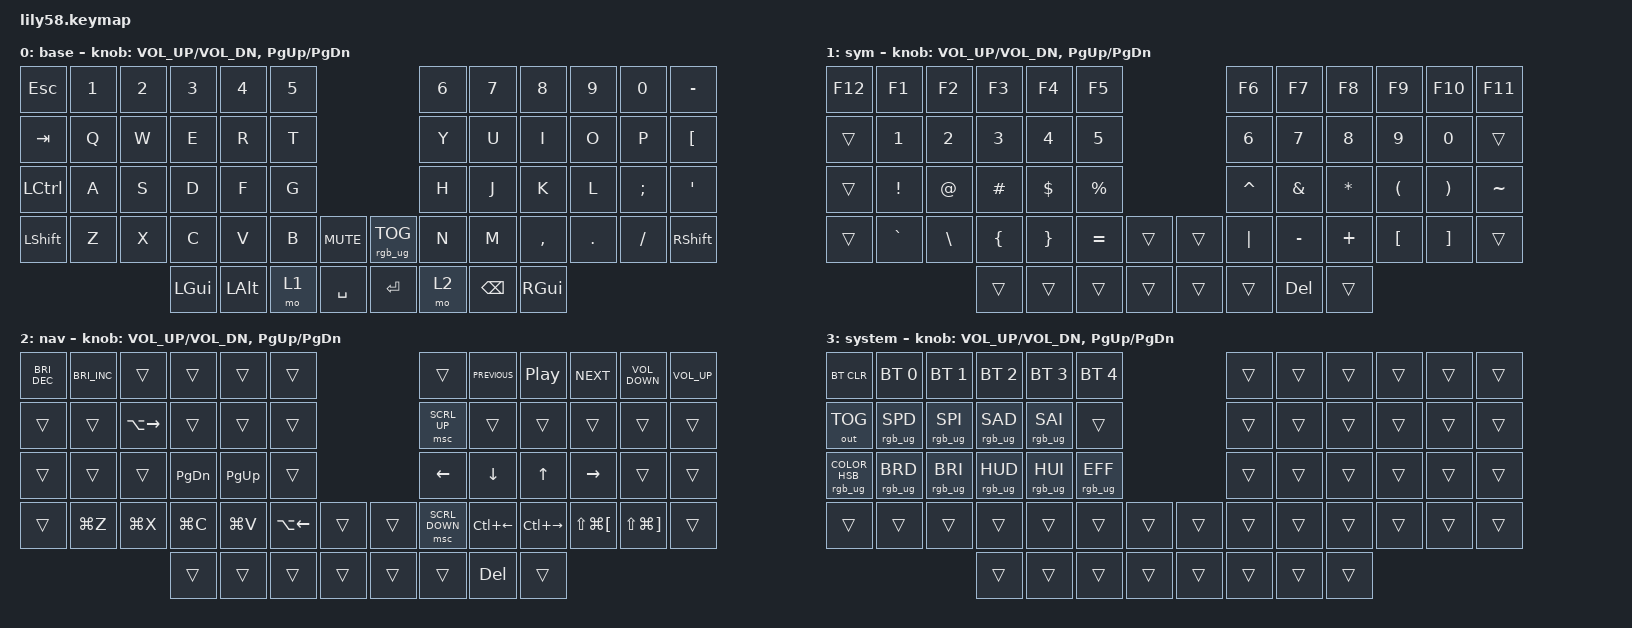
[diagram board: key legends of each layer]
/*
 * Copyright (c) 2020 The ZMK Contributors
 *
 * SPDX-License-Identifier: MIT
 */

#include <behaviors.dtsi>
#include <dt-bindings/zmk/bt.h>
#include <dt-bindings/zmk/keys.h>
#include <dt-bindings/zmk/outputs.h>
#include <dt-bindings/zmk/pointing.h>
#include <dt-bindings/zmk/rgb.h>

/ {
    // Activate SYSTEM layer by pressing raise and lower

    conditional_layers {
        compatible = "zmk,conditional-layers";

        system_layer {
            if-layers = <1 2>;
            then-layer = <3>;
        };
    };

    keymap {
        compatible = "zmk,keymap";

        default {
            display-name = "base";
            bindings = <
&kp ESC           &kp N1  &kp N2  &kp N3    &kp N4    &kp N5                                 &kp N6  &kp N7    &kp N8     &kp N9   &kp N0    &kp MINUS
&kp TAB           &kp Q   &kp W   &kp E     &kp R     &kp T                                  &kp Y   &kp U     &kp I      &kp O    &kp P     &kp LEFT_BRACKET
&kp LEFT_CONTROL  &kp A   &kp S   &kp D     &kp F     &kp G                                  &kp H   &kp J     &kp K      &kp L    &kp SEMI  &kp SQT
&kp LEFT_SHIFT    &kp Z   &kp X   &kp C     &kp V     &kp B   &kp C_MUTE    &rgb_ug RGB_TOG  &kp N   &kp M     &kp COMMA  &kp DOT  &kp FSLH  &kp RSHFT
                                  &kp LGUI  &kp LALT  &mo 1   &kp SPACE     &kp RET          &mo 2   &kp BSPC  &kp RGUI
            >;

            sensor-bindings = <&inc_dec_kp C_VOL_UP C_VOL_DN &inc_dec_kp PG_UP PG_DN>;
        };

        lower {
            display-name = "sym";
            bindings = <
&kp F12  &kp F1           &kp F2         &kp F3          &kp F4           &kp F5                         &kp F6     &kp F7      &kp F8        &kp F9                &kp F10                &kp F11
&trans   &kp N1           &kp N2         &kp N3          &kp N4           &kp N5                         &kp N6     &kp N7      &kp N8        &kp N9                &kp N0                 &trans
&trans   &kp EXCLAMATION  &kp AT_SIGN    &kp HASH        &kp DOLLAR       &kp PERCENT                    &kp CARET  &kp AMPS    &kp ASTERISK  &kp LEFT_PARENTHESIS  &kp RIGHT_PARENTHESIS  &kp TILDE
&trans   &kp GRAVE        &kp BACKSLASH  &kp LEFT_BRACE  &kp RIGHT_BRACE  &kp EQUAL    &trans    &trans  &kp PIPE   &kp MINUS   &kp PLUS      &kp LEFT_BRACKET      &kp RIGHT_BRACKET      &trans
                                         &trans          &trans           &trans       &trans    &trans  &trans     &kp DELETE  &trans
            >;

            sensor-bindings = <&inc_dec_kp C_VOL_UP C_VOL_DN &inc_dec_kp PG_UP PG_DN>;
        };

        raise {
            display-name = "nav";
            bindings = <
&kp C_BRIGHTNESS_DEC  &kp C_BRIGHTNESS_INC  &trans         &trans         &trans       &trans                          &trans          &kp C_PREVIOUS  &kp C_PLAY_PAUSE  &kp C_NEXT                &kp C_VOLUME_DOWN          &kp C_VOLUME_UP
&trans                &trans                &kp LA(RIGHT)  &trans         &trans       &trans                          &msc SCRL_UP    &trans          &trans            &trans                    &trans                     &trans
&trans                &trans                &trans         &kp PAGE_DOWN  &kp PAGE_UP  &trans                          &kp LEFT_ARROW  &kp DOWN_ARROW  &kp UP_ARROW      &kp RIGHT_ARROW           &trans                     &trans
&trans                &kp LG(Z)             &kp LG(X)      &kp LG(C)      &kp LG(V)    &kp LA(LEFT)  &trans    &trans  &msc SCRL_DOWN  &kp LC(LEFT)    &kp LC(RIGHT)     &kp LS(LG(LEFT_BRACKET))  &kp LS(LG(RIGHT_BRACKET))  &trans
                                                           &trans         &trans       &trans        &trans    &trans  &trans          &kp DELETE      &trans
            >;

            sensor-bindings = <&inc_dec_kp C_VOL_UP C_VOL_DN &inc_dec_kp PG_UP PG_DN>;
        };

        system {
            display-name = "system";
            bindings = <
&bt BT_CLR                       &bt BT_SEL 0     &bt BT_SEL 1     &bt BT_SEL 2     &bt BT_SEL 3     &bt BT_SEL 4                       &trans  &trans  &trans  &trans  &trans  &trans
&out OUT_TOG                     &rgb_ug RGB_SPD  &rgb_ug RGB_SPI  &rgb_ug RGB_SAD  &rgb_ug RGB_SAI  &trans                             &trans  &trans  &trans  &trans  &trans  &trans
&rgb_ug RGB_COLOR_HSB(175,0,10)  &rgb_ug RGB_BRD  &rgb_ug RGB_BRI  &rgb_ug RGB_HUD  &rgb_ug RGB_HUI  &rgb_ug RGB_EFF                    &trans  &trans  &trans  &trans  &trans  &trans
&trans                           &trans           &trans           &trans           &trans           &trans           &trans    &trans  &trans  &trans  &trans  &trans  &trans  &trans
                                                                   &trans           &trans           &trans           &trans    &trans  &trans  &trans  &trans
            >;

            sensor-bindings = <&inc_dec_kp C_VOL_UP C_VOL_DN &inc_dec_kp PG_UP PG_DN>;
        };
    };
};
